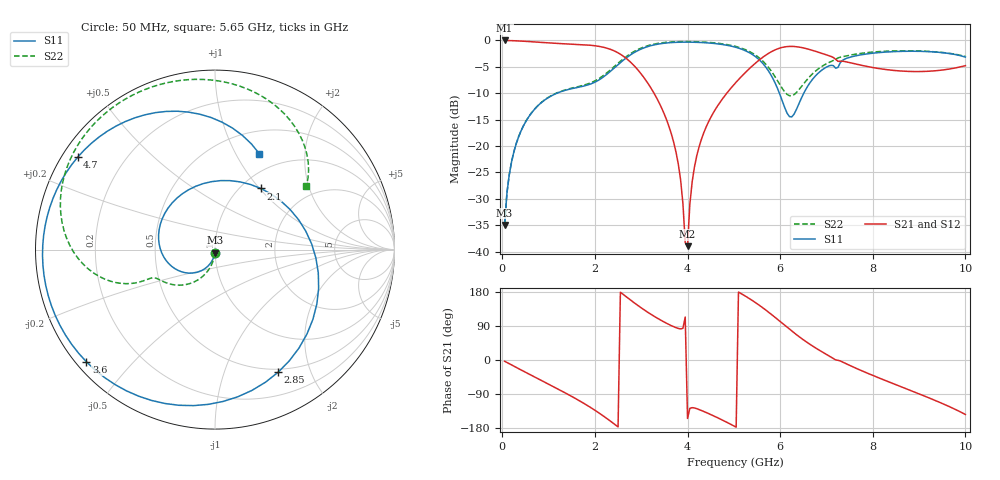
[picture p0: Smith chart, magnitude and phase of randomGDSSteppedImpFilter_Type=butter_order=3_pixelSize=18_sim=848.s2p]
! freq	dB(S11)	phase(S11)	dB(S12)	phase(S12)
!  dB(S21)	phase(S21)	dB(S22)	phase(S22)
!S-par simulation data
#  GHz  S  DB  R 50
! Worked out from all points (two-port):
!   200 points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, 50 MHz to 10 GHz, reference 50 ohm
!   highest |S21| = 0.00 dB at 50 MHz (marker M1); lowest = -39.0 dB at 4 GHz (marker M2)
!   |S21| within 3 dB of the highest: start of sweep to 2.616 GHz; 5.654 GHz to 7.088 GHz (1.435 GHz wide, 22.5 % of centre)
!   lowest |S11| = -35.0 dB at 50 MHz (marker M3), VSWR 1.04, Z = 49.8 - j1.78 ohm
!   |S11| at or under -10 dB: start of sweep to 1.179 GHz; 5.983 GHz to 6.511 GHz (527.5 MHz wide, 8.44 % of centre)
!   |S22| runs from -34.9 to -0.2 dB; largest |S21 - S12| = 0
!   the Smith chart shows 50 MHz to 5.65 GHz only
!   S11 on the Smith chart (normalised r, x): 50 MHz: 1.00, -0.04; 2.1 GHz: 1.22, +1.02; 2.85 GHz: 0.46, -1.54; 3.6 GHz: 0.03, -0.38; 4.7 GHz: 0.04, +0.30; 5.65 GHz: 0.77, +1.25
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0.05  -34.96 -93.9  -0.00 -3.3  -0.00 -3.3  -34.94 -92.4
0.2  -23.01 -106.2  -0.04 -13.0  -0.04 -13.0  -22.99 -100.4
0.5  -15.48 -130.3  -0.17 -32.3  -0.17 -32.3  -15.46 -115.4
1.15  -10.11 174.5  -0.54 -73.4  -0.54 -73.4  -10.05 -142.3
1.75  -8.66 107.0  -0.81 -113.6  -0.81 -113.6  -8.50 -155.3
2.1  -7.42 53.2  -1.14 -140.8  -1.14 -140.8  -7.16 -156.5
2.5  -4.58 -12.7  -2.35 -176.5  -2.35 -176.5  -4.32 -163.2
2.85  -2.29 -62.8  -4.82 150.8  -4.82 150.8  -2.08 -178.9
3.4  -0.64 -122.0  -12.05 106.6  -12.05 106.6  -0.50 150.9
3.6  -0.44 -138.9  -16.32 93.6  -16.32 93.6  -0.31 140.5
3.8  -0.34 -154.0  -23.40 83.3  -23.40 83.3  -0.23 130.5
4  -0.32 -168.1  -38.98 -154.2  -38.98 -154.2  -0.21 120.7
4.2  -0.35 178.6  -21.83 -128.5  -21.83 -128.5  -0.25 111.1
4.7  -0.70 146.1  -11.74 -155.4  -11.74 -155.4  -0.58 86.7
5.05  -1.32 121.3  -7.90 -177.3  -7.90 -177.3  -1.16 68.3
5.65  -4.61 65.1  -3.03 135.5  -3.03 135.5  -4.12 35.0
6.2  -14.43 -54.6  -1.13 81.5  -1.13 81.5  -10.47 42.7
6.7  -7.35 -174.9  -1.89 36.9  -1.89 36.9  -6.31 59.7
7.35  -3.75 134.9  -3.94 -5.3  -3.94 -5.3  -3.08 32.8
8.35  -2.17 73.3  -5.58 -57.9  -5.58 -57.9  -2.01 -10.0
9.3  -2.16 20.0  -5.79 -104.3  -5.79 -104.3  -2.13 -46.9
10  -3.15 -28.6  -4.78 -143.7  -4.78 -143.7  -3.03 -72.6
